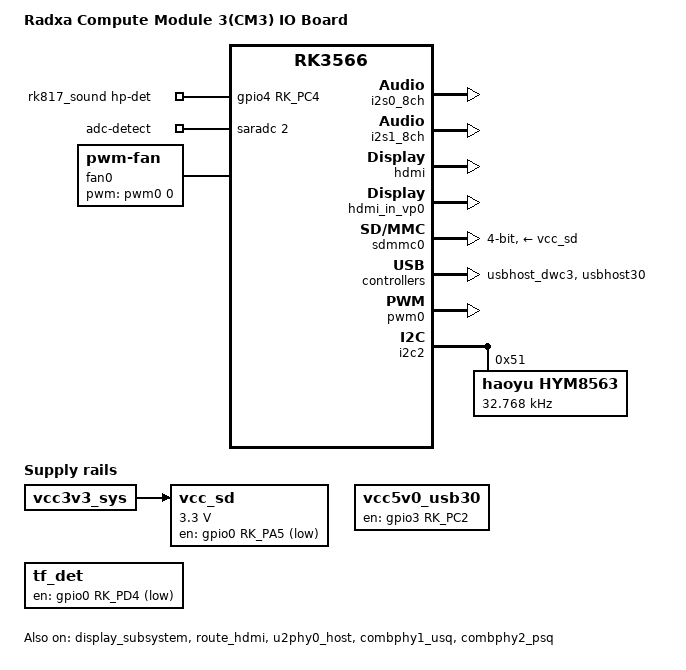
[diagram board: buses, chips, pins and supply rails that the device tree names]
// SPDX-License-Identifier: (GPL-2.0+ OR MIT)
/*
 * Copyright (c) 2020 Rockchip Electronics Co., Ltd.
 * Copyright (c) 2022 Radxa Limited.
 *
 */

/dts-v1/;

#include "rk3566-radxa-cm3.dtsi"

/ {
	model = "Radxa Compute Module 3(CM3) IO Board";
	compatible = "radxa,cm3-io", "radxa,cm3", "rockchip,rk3566";

	hdmi_sound: hdmi-sound {
		compatible = "simple-audio-card";
		simple-audio-card,format = "i2s";
		simple-audio-card,mclk-fs = <128>;
		simple-audio-card,name = "rockchip-hdmi0";

		simple-audio-card,cpu {
				sound-dai = <&i2s0_8ch>;
		};
		simple-audio-card,codec {
				sound-dai = <&hdmi>;
		};
	};

	vcc5v0_usb30: vcc5v0-usb30-regulator {
		compatible = "regulator-fixed";
		enable-active-high;
		gpio = <&gpio3 RK_PC2 GPIO_ACTIVE_HIGH>;
		pinctrl-names = "default";
		pinctrl-0 = <&vcc5v0_usb30_en>;
		regulator-name = "vcc5v0_usb30";
		regulator-always-on;
		regulator-boot-on;
	};

	vcc_sd: sdmmc-regulator {
		compatible = "regulator-fixed";
		gpio = <&gpio0 RK_PA5 GPIO_ACTIVE_LOW>;
		pinctrl-names = "default";
		pinctrl-0 = <&sdmmc_pwren>;
		regulator-name = "vcc_sd";
		regulator-min-microvolt = <3300000>;
		regulator-max-microvolt = <3300000>;
		startup-delay-us = <100000>;
		vin-supply = <&vcc3v3_sys>;
	};

	tf_det: tf-det-regulator {
		compatible = "regulator-fixed";
		enable-active-low;
		gpio = <&gpio0 RK_PD4 GPIO_ACTIVE_LOW>;
		pinctrl-names = "default";
		pinctrl-0 = <&tf_det_en>;
		regulator-name = "tf_det";
		regulator-always-on;
		regulator-boot-on;
	};

	rk817_sound: rk817-sound {
		status = "okay";
		compatible = "rockchip,multicodecs-card";
		rockchip,card-name = "rockchip-rk817";
		rockchip,format = "i2s";
		rockchip,mclk-fs = <256>;
		rockchip,cpu = <&i2s1_8ch>;
		rockchip,codec = <&rk817_codec>;
		poll-interval = <100>;
		io-channels = <&saradc 2>;
		io-channel-names = "adc-detect";
		keyup-threshold-microvolt = <1800000>;
		pinctrl-0 = <&hp_det>;
		pinctrl-names = "default";
		hp-det-gpio = <&gpio4 RK_PC4 GPIO_ACTIVE_HIGH>;
		play-pause-key {
			label = "playpause";
			linux,code = <164>;
			press-threshold-microvolt = <2000>;
		};
	};

	fan0: pwm-fan {
		compatible = "pwm-fan";
		#cooling-cells = <2>;
		cooling-levels = <0 64 128 192 255>;
		pwms = <&pwm0 0 10000 0>;
	};
};

&gpio_leds {
	pi-led-green {
		gpios = <&gpio4 4 GPIO_ACTIVE_LOW>;
		linux,default-trigger = "heartbeat";
		default-state = "on";
		pinctrl-0 = <&pi_led>;
	};

	pwr-led-red {
		gpios = <&gpio4 15 GPIO_ACTIVE_LOW>;
		linux,default-trigger = "none";
		default-state = "on";
		pinctrl-0 = <&pwr_led>;
	};
};

&i2s0_8ch {
	status = "okay";
};

&i2s1_8ch {
	rockchip,clk-trcm = <1>;
	pinctrl-0 = <&i2s1m0_sclktx
		     &i2s1m0_lrcktx
		     &i2s1m0_sdi0
		     &i2s1m0_sdo0>;
	status = "okay";
};

&display_subsystem {
    status = "okay";
};

&hdmi {
	status = "okay";
};

&hdmi_in_vp0 {
	status = "okay";
};

&hdmi_in_vp1 {
	status = "disabled";
};

&hdmi_sound {
	status = "okay";
};

&route_hdmi {
	status = "okay";
	connect = <&vp0_out_hdmi>;
};

&sdmmc0 {
	max-frequency = <150000000>;
	supports-sd;
	bus-width = <4>;
	cap-mmc-highspeed;
	cap-sd-highspeed;
	disable-wp;
	sd-uhs-sdr104;
	vmmc-supply = <&vcc_sd>;
	vqmmc-supply = <&vccio_sd>;
	pinctrl-names = "default";
	pinctrl-0 = <&sdmmc0_bus4 &sdmmc0_clk &sdmmc0_cmd &sdmmc0_det>;
	status = "okay";
};

&u2phy0_host {
	phy-supply = <&vcc5v0_usb30>;
	status = "okay";
};

&usbhost_dwc3 {
	status = "okay";
};

&usbhost30 {
	status = "okay";
};

&combphy1_usq {
	status = "okay";
};

&combphy2_psq {
	status = "okay";
};

&pwm0 {
	pinctrl-0 = <&pwm0m1_pins>;
	status = "okay";
};

&i2c2 {
	status = "okay";
	hym8563: hym8563@51 {
		compatible = "haoyu,hym8563";
		status = "okay";
		reg = <0x51>;
		#clock-cells = <0>;
		clock-frequency = <32768>;
		clock-output-names = "hym8563";
	};
};

&soc_thermal {
	sustainable-power = <5000>; /* milliwatts */
	cooling-maps {
		map2 {
			trip = <&target>;
			cooling-device =
				<&fan0 THERMAL_NO_LIMIT THERMAL_NO_LIMIT>;
			contribution = <8192>;
		};
		map3 {
			trip = <&threshold>;
			cooling-device =
				<&fan0 THERMAL_NO_LIMIT THERMAL_NO_LIMIT>;
			contribution = <8192>;
		};
	};
};

&threshold {
	temperature = <60000>;
};

&pinctrl {
	headphone {
		hp_det: hp-det {
			rockchip,pins = <4 RK_PC4 RK_FUNC_GPIO &pcfg_pull_up>;
		};
	};

	usb {
		vcc5v0_usb30_en: vcc5v0-host-en {
			rockchip,pins = <3 RK_PC2 RK_FUNC_GPIO &pcfg_pull_none>;
		};
	};

	leds {
		pi_led: pi-led{
			rockchip,pins = <4 RK_PA4 RK_FUNC_GPIO &pcfg_pull_none>;
		};

		pwr_led: pwr-led{
			rockchip,pins = <4 RK_PB7 RK_FUNC_GPIO &pcfg_pull_none>;
		};
	};

	sdcard {
		sdmmc_pwren: sdmmc-pwren {
			rockchip,pins = <0 RK_PA5 RK_FUNC_GPIO &pcfg_pull_none>;
		};

		tf_det_en: tf-det-en {
			rockchip,pins = <0 RK_PD4 RK_FUNC_GPIO &pcfg_output_low>;
		};
	};

	gmac1 {
		gmac1m0_miim: gmac1m0-miim {
			rockchip,pins =
				/* gmac1_mdcm0 */
				<3 RK_PC4 3 &pcfg_pull_none_drv_level_15>,
				/* gmac1_mdiom0 */
				<3 RK_PC5 3 &pcfg_pull_none_drv_level_15>;
		};

		gmac1m0_rx_bus2: gmac1m0-rx-bus2 {
			rockchip,pins =
				/* gmac1_rxd0m0 */
				<3 RK_PB1 3 &pcfg_pull_none_drv_level_15>,
				/* gmac1_rxd1m0 */
				<3 RK_PB2 3 &pcfg_pull_none_drv_level_15>,
				/* gmac1_rxdvcrsm0 */
				<3 RK_PB3 3 &pcfg_pull_none_drv_level_15>;
		};

		gmac1m0_tx_bus2: gmac1m0-tx-bus2 {
			rockchip,pins =
				/* gmac1_txd0m0 */
				<3 RK_PB5 3 &pcfg_pull_none_drv_level_15>,
				/* gmac1_txd1m0 */
				<3 RK_PB6 3 &pcfg_pull_none_drv_level_15>,
				/* gmac1_txenm0 */
				<3 RK_PB7 3 &pcfg_pull_none_drv_level_15>;
		};

		gmac1m0_rgmii_clk: gmac1m0-rgmii-clk {
			rockchip,pins =
				/* gmac1_rxclkm0 */
				<3 RK_PA7 3 &pcfg_pull_none_drv_level_15>,
				/* gmac1_txclkm0 */
				<3 RK_PA6 3 &pcfg_pull_none_drv_level_15>;
		};

		gmac1m0_rgmii_bus: gmac1m0-rgmii-bus {
			rockchip,pins =
				/* gmac1_rxd2m0 */
				<3 RK_PA4 3 &pcfg_pull_none_drv_level_15>,
				/* gmac1_rxd3m0 */
				<3 RK_PA5 3 &pcfg_pull_none_drv_level_15>,
				/* gmac1_txd2m0 */
				<3 RK_PA2 3 &pcfg_pull_none_drv_level_15>,
				/* gmac1_txd3m0 */
				<3 RK_PA3 3 &pcfg_pull_none_drv_level_15>;
		};

		gmac1m0_clkinout: gmac1m0-clkinout {
			rockchip,pins =
				/* gmac1_mclkinoutm0 */
				<3 RK_PC0 3 &pcfg_pull_none_drv_level_15>;
		};
	};
};
